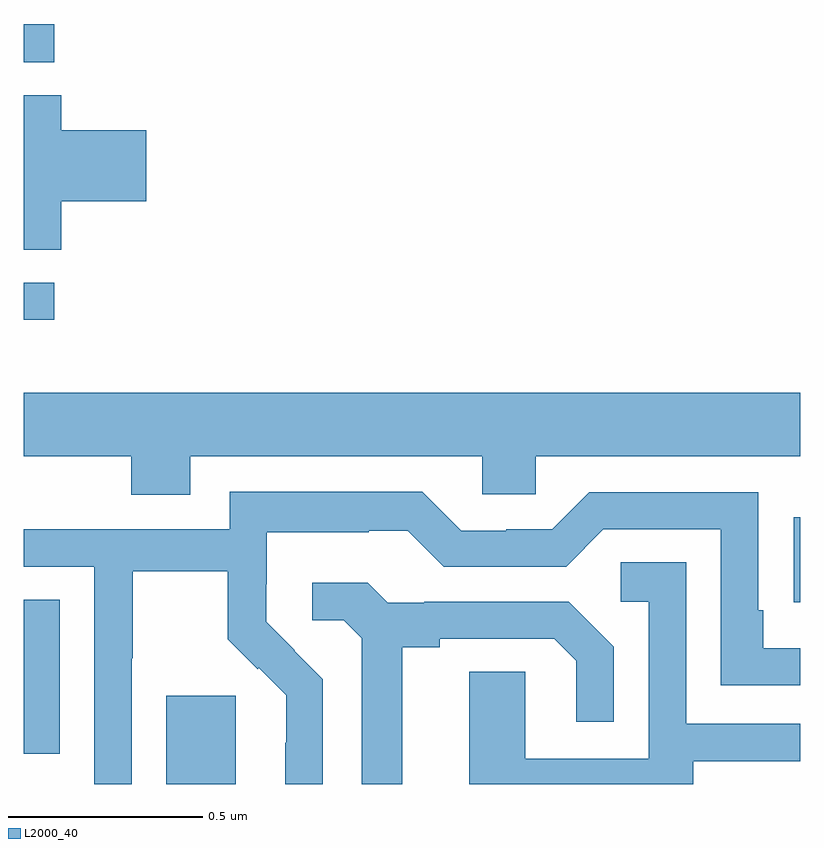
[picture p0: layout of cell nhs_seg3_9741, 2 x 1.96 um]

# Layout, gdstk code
import gdstk
lib = gdstk.Library(unit=1e-6, precision=1e-09)
def R(c, l, rs):  # rectangles x0, y0, x1, y1
    for r in rs: c.add(gdstk.rectangle(r[:2], r[2:], *l))
def P(c, l, *ps):  # polygons
    for p in ps: c.add(gdstk.Polygon(p, *l))
L2000_40 = (2000, 40)

nhs_seg3_9741 = lib.new_cell('nhs_seg3_9741')
R(nhs_seg3_9741, L2000_40, [(232.367,705.4,232.546,705.627), (232,705.478,232.093,705.875), (233.983,705.868,234,706.087), (232,706.596,232.078,706.692), (232,707.259,232.078,707.358)])
P(nhs_seg3_9741, L2000_40, [(232.097,706.901),(232.315,706.901),(232.315,707.084),(232.097,707.084),(232.097,707.174),(232,707.174),(232,706.777),(232.097,706.777)],
  [(232,706.244),(232.277,706.244),(232.277,706.145),(232.429,706.145),(232.429,706.244),(233.181,706.244),(233.181,706.146),(233.319,706.146),(233.319,706.244),(234,706.244),(234,706.408),(232,706.408)],
  [(232.278,705.724),(232.281,705.724),(232.281,705.948),(232.525,705.948),(232.525,705.773),(232.602,705.696),(232.605,705.699),(232.676,705.629),(232.676,705.506),(232.674,705.506),(232.674,705.4),(232.77,705.4),(232.77,705.67),(232.697,705.743),(232.698,705.744),(232.624,705.818),(232.624,705.915),(232.626,705.915),(232.626,706.049),(232.889,706.049),(232.889,706.053),(232.989,706.053),(233.082,705.96),(233.397,705.96),(233.493,706.056),(233.796,706.056),(233.796,705.654),(234,705.654),(234,705.75),(233.905,705.75),(233.905,705.847),(233.892,705.847),(233.892,706.152),(233.457,706.152),(233.361,706.056),(233.243,706.056),(233.243,706.053),(233.127,706.053),(233.027,706.153),(232.53,706.153),(232.53,706.056),(232,706.056),(232,705.96),(232.182,705.96),(232.182,705.4),(232.278,705.4)],
  [(233.725,705.459),(234,705.459),(234,705.555),(233.706,705.555),(233.706,705.971),(233.538,705.971),(233.538,705.87),(233.61,705.87),(233.61,705.465),(233.292,705.465),(233.292,705.689),(233.147,705.689),(233.147,705.4),(233.725,705.4)],
  [(232.975,705.752),(233.071,705.752),(233.071,705.774),(233.366,705.774),(233.423,705.717),(233.423,705.561),(233.52,705.561),(233.52,705.754),(233.404,705.87),(233.032,705.87),(233.032,705.867),(232.938,705.867),(232.886,705.919),(232.743,705.919),(232.743,705.822),(232.824,705.822),(232.871,705.775),(232.871,705.4),(232.975,705.4)])

lib.write_gds('nhs_seg3_9741.gds')
